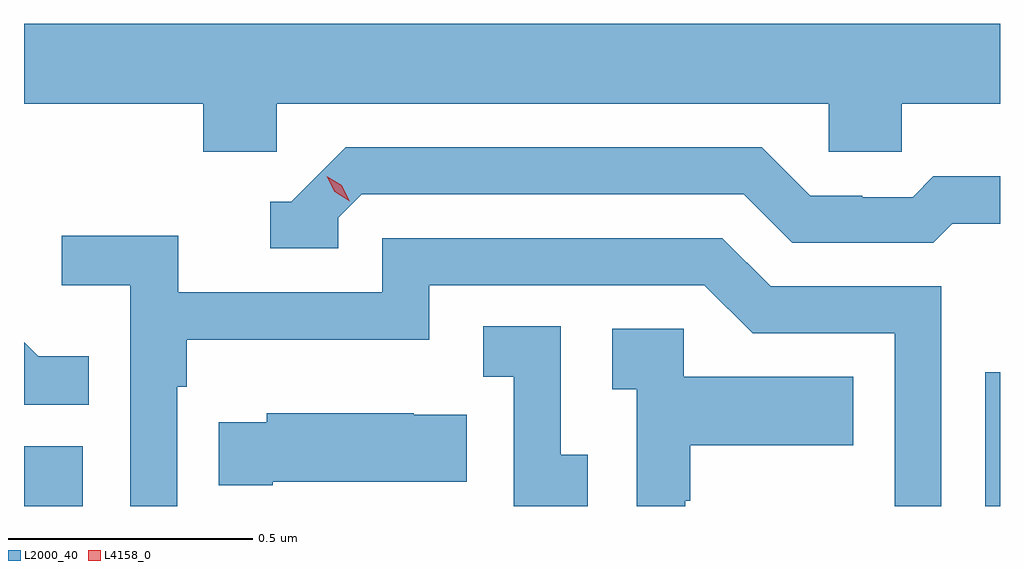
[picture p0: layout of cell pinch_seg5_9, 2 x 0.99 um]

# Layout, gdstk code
import gdstk
lib = gdstk.Library(unit=1e-6, precision=1e-09)
def R(c, l, rs):  # rectangles x0, y0, x1, y1
    for r in rs: c.add(gdstk.rectangle(r[:2], r[2:], *l))
def P(c, l, *ps):  # polygons
    for p in ps: c.add(gdstk.Polygon(p, *l))
L2000_40 = (2000, 40)
L4158_0 = (4158, 0)

pinch_seg5_9 = lib.new_cell('pinch_seg5_9')
R(pinch_seg5_9, L2000_40, [(1128.418,902.556,1128.538,902.679), (1130.388,902.556,1130.418,902.83)])
P(pinch_seg5_9, L2000_40, [(1128.936,903.38),(1130.067,903.38),(1130.067,903.282),(1130.217,903.282),(1130.217,903.38),(1130.418,903.38),(1130.418,903.544),(1128.418,903.544),(1128.418,903.38),(1128.785,903.38),(1128.785,903.282),(1128.936,903.282)],
  [(1129.062,903.147),(1129.11,903.195),(1129.893,903.195),(1129.992,903.096),(1130.281,903.096),(1130.32,903.135),(1130.418,903.135),(1130.418,903.232),(1130.281,903.232),(1130.239,903.189),(1130.136,903.189),(1130.136,903.192),(1130.029,903.192),(1129.93,903.291),(1129.077,903.291),(1128.966,903.18),(1128.923,903.18),(1128.923,903.084),(1129.062,903.084)],
  [(1128.732,902.801),(1128.752,902.801),(1128.752,902.897),(1129.248,902.897),(1129.248,903.009),(1129.812,903.009),(1129.911,902.91),(1130.202,902.91),(1130.202,902.556),(1130.298,902.556),(1130.298,903.006),(1129.948,903.006),(1129.849,903.105),(1129.152,903.105),(1129.152,902.994),(1128.734,902.994),(1128.734,903.11),(1128.495,903.11),(1128.495,903.008),(1128.636,903.008),(1128.636,902.556),(1128.732,902.556)],
  [(1129.573,902.661),(1129.518,902.661),(1129.518,902.924),(1129.359,902.924),(1129.359,902.821),(1129.422,902.821),(1129.422,902.556),(1129.573,902.556)],
  [(1129.773,902.567),(1129.783,902.567),(1129.783,902.681),(1130.117,902.681),(1130.117,902.821),(1129.77,902.821),(1129.77,902.919),(1129.623,902.919),(1129.623,902.795),(1129.674,902.795),(1129.674,902.556),(1129.773,902.556)],
  [(1128.551,902.863),(1128.447,902.863),(1128.418,902.892),(1128.418,902.764),(1128.551,902.764)],
  [(1128.928,902.606),(1129.325,902.606),(1129.325,902.743),(1129.217,902.743),(1129.217,902.746),(1128.915,902.746),(1128.915,902.728),(1128.817,902.728),(1128.817,902.599),(1128.928,902.599)])
P(pinch_seg5_9, L4158_0, [(1129.086,903.181),(1129.055,903.2),(1129.038,903.232),(1129.038,903.232),(1129.038,903.232),(1129.069,903.213),(1129.086,903.181),(1129.086,903.181)])

lib.write_gds('pinch_seg5_9.gds')
